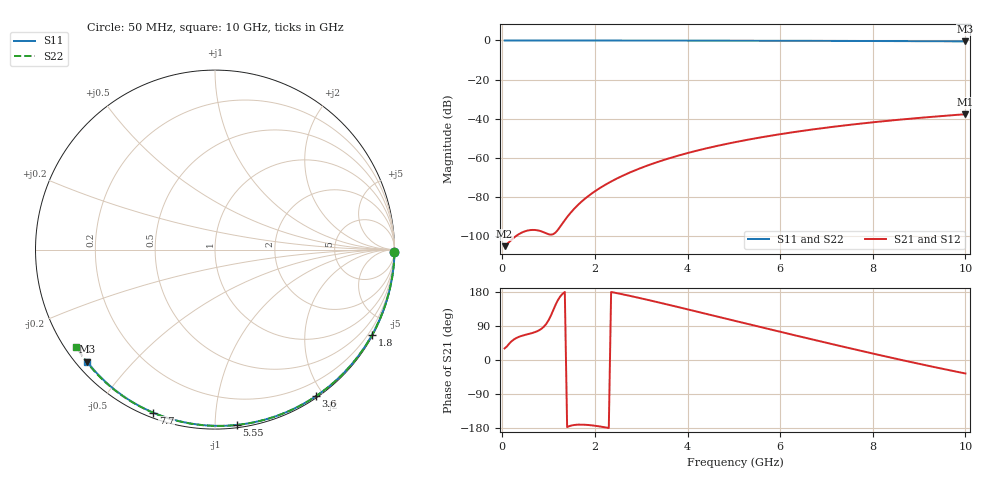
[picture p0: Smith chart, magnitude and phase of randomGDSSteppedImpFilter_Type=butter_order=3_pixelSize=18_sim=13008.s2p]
! freq	dB(S11)	phase(S11)	dB(S12)	phase(S12)
!  dB(S21)	phase(S21)	dB(S22)	phase(S22)
!S-par simulation data
#  GHz  S  DB  R 50
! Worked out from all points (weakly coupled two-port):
!   200 points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, 50 MHz to 10 GHz, reference 50 ohm
!   highest |S21| = -37.75 dB at 10 GHz (marker M1); lowest = -105.3 dB at 50 MHz (marker M2)
!   lowest |S11| = -0.5 dB at 10 GHz (marker M3), VSWR 37.05, Z = 1.54 - j18.8 ohm
!   |S11| at or under -10 dB: nowhere
!   |S22| runs from -0.5 to 0.0 dB; largest |S21 - S12| = 0
!   S11 on the Smith chart (normalised r, x): 50 MHz: open; 1.8 GHz: 0.03, -3.95; 3.6 GHz: 0.02, -1.90; 5.55 GHz: 0.02, -1.13; 7.7 GHz: 0.02, -0.69; 10 GHz: 0.03, -0.38
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0.05  -0.00 -0.8  -105.30 30.6  -105.30 30.6  -0.00 -0.8
0.85  -0.02 -13.6  -97.77 82.8  -97.77 82.8  -0.01 -13.8
1.3  -0.03 -20.7  -93.65 174.5  -93.65 174.5  -0.03 -21.0
1.75  -0.04 -27.7  -81.70 -170.7  -81.70 -170.7  -0.04 -28.1
1.8  -0.04 -28.4  -80.72 -171.0  -80.72 -171.0  -0.04 -28.9
1.85  -0.04 -29.2  -79.78 -171.4  -79.78 -171.4  -0.04 -29.7
2  -0.04 -31.5  -77.21 -173.5  -77.21 -173.5  -0.04 -32.1
2.15  -0.04 -33.8  -74.91 -176.2  -74.91 -176.2  -0.04 -34.4
2.35  -0.05 -36.9  -72.20 179.4  -72.20 179.4  -0.05 -37.5
2.55  -0.05 -39.9  -69.80 174.6  -69.80 174.6  -0.05 -40.6
2.95  -0.06 -46.0  -65.68 164.0  -65.68 164.0  -0.06 -46.8
3.4  -0.07 -52.6  -61.85 151.3  -61.85 151.3  -0.07 -53.6
3.6  -0.07 -55.6  -60.35 145.5  -60.35 145.5  -0.08 -56.5
4.3  -0.09 -65.6  -55.84 124.8  -55.84 124.8  -0.09 -66.8
5.05  -0.12 -76.1  -51.95 102.5  -51.95 102.5  -0.12 -77.5
5.55  -0.14 -82.9  -49.75 87.7  -49.75 87.7  -0.14 -84.5
6.1  -0.16 -90.2  -47.61 71.6  -47.61 71.6  -0.16 -92.0
6.7  -0.19 -98.0  -45.56 54.1  -45.56 54.1  -0.19 -100.0
7.7  -0.25 -110.7  -42.66 25.5  -42.66 25.5  -0.26 -113.2
8.35  -0.30 -118.7  -41.06 7.4  -41.06 7.4  -0.31 -121.8
9.2  -0.38 -129.1  -39.25 -15.3  -39.25 -15.3  -0.39 -133.2
10  -0.47 -138.8  -37.75 -35.6  -37.75 -35.6  -0.51 -145.0
